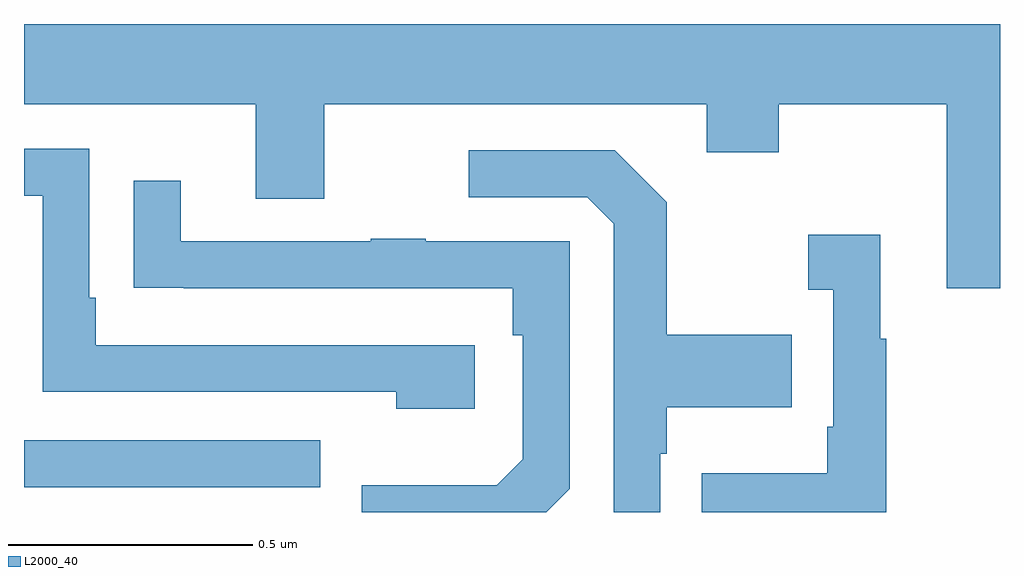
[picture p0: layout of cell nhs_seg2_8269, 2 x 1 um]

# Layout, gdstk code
import gdstk
lib = gdstk.Library(unit=1e-6, precision=1e-09)
def R(c, l, rs):  # rectangles x0, y0, x1, y1
    for r in rs: c.add(gdstk.rectangle(r[:2], r[2:], *l))
def P(c, l, *ps):  # polygons
    for p in ps: c.add(gdstk.Polygon(p, *l))
L2000_40 = (2000, 40)

nhs_seg2_8269 = lib.new_cell('nhs_seg2_8269')
R(nhs_seg2_8269, L2000_40, [(214,646.851,214.607,646.947)])
P(nhs_seg2_8269, L2000_40, [(216,647.8),(214,647.8),(214,647.636),(214.475,647.636),(214.475,647.442),(214.615,647.442),(214.615,647.636),(215.399,647.636),(215.399,647.537),(215.547,647.537),(215.547,647.636),(215.891,647.636),(215.891,647.259),(216,647.259)],
  [(214.924,647.142),(214.147,647.142),(214.147,647.239),(214.134,647.239),(214.134,647.544),(214,647.544),(214,647.448),(214.038,647.448),(214.038,647.046),(214.763,647.046),(214.763,647.012),(214.924,647.012)],
  [(215.304,646.919),(215.317,646.919),(215.317,647.015),(215.573,647.015),(215.573,647.163),(215.317,647.163),(215.317,647.435),(215.211,647.541),(214.911,647.541),(214.911,647.445),(215.154,647.445),(215.208,647.391),(215.208,646.8),(215.304,646.8)],
  [(215.118,646.848),(215.118,647.355),(214.823,647.355),(214.823,647.36),(214.711,647.36),(214.711,647.355),(214.321,647.355),(214.321,647.479),(214.225,647.479),(214.225,647.26),(214.327,647.26),(214.327,647.259),(215.002,647.259),(215.002,647.162),(215.022,647.162),(215.022,646.908),(214.969,646.855),(214.692,646.855),(214.692,646.8),(215.07,646.8)],
  [(215.767,647.155),(215.755,647.155),(215.755,647.368),(215.607,647.368),(215.607,647.255),(215.658,647.255),(215.658,646.975),(215.646,646.975),(215.646,646.879),(215.389,646.879),(215.389,646.8),(215.767,646.8)])

lib.write_gds('nhs_seg2_8269.gds')
